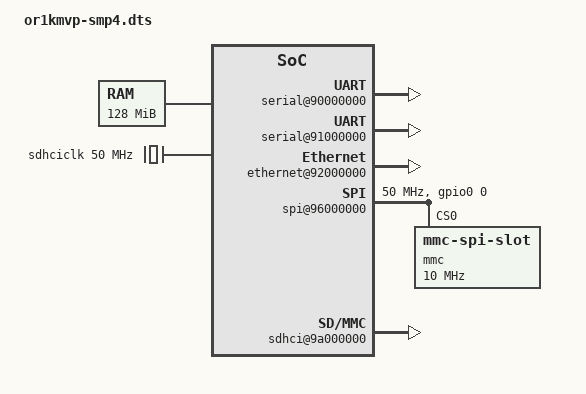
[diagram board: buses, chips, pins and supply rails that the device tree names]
/*
 * Copyright (c) 2021 Jan Henrik Weinstock <jan.weinstock@rwth-aachen.de>
 *
 * SPDX-License-Identifier: GPL-2.0
 *
 * Device tree for the OpenRISC Multicore Virtual Platform (or1kmvp)
 *
 */

/dts-v1/;

/ {
	compatible = "openrisc,or1kmvp";
	#address-cells = <1>;
	#size-cells = <1>;
	interrupt-parent = <&pic>;

	aliases {
		serial0 = "/serial@90000000";
		serial1 = "/serial@91000000";
		ethernet0 = "/ethernet@92000000";
	};

	chosen {
		bootargs = "debug earlycon console=ttyS0,115200n8 video=ocfb:800x600-32@60 root=/dev/mmcblk0p1 ro rootwait maxcpus=4";
		stdout-path = "serial0:115200n8";
	};

	cpus {
		#address-cells = <1>;
		#size-cells = <0>;

		cpu@0 {
			device_type = "cpu";
			compatible = "openrisc,or1kiss";
			clock-frequency = <100000000>; /* 100MHz */
			reg = <0>;
		};

		cpu@1 {
			device_type = "cpu";
			compatible = "openrisc,or1kiss";
			clock-frequency = <100000000>; /* 100MHz */
			reg = <1>;
		};

		cpu@2 {
			device_type = "cpu";
			compatible = "openrisc,or1kiss";
			clock-frequency = <100000000>; /* 100MHz */
			reg = <2>;
		};

		cpu@3 {
			device_type = "cpu";
			compatible = "openrisc,or1kiss";
			clock-frequency = <100000000>; /* 100MHz */
			reg = <3>;
		};
	};

	pic: interrupt-controller {
		compatible = "opencores,or1k-pic-level";
		#interrupt-cells = <1>;
		interrupt-controller;
	};

	memory@0 {
		device_type = "memory";
		reg = <0x00000000 0x08000000>; /* 128MB */
	};

	serial@90000000 {
		compatible = "ns16550a";
		clock-frequency = <3686400>; /* 3.6864MHz */
		reg = <0x90000000 0x2000>;
		interrupts = <2>;
	};

	serial@91000000 {
		compatible = "ns16550a";
		clock-frequency = <3686400>; /* 3.6864MHz */
		reg = <0x91000000 0x2000>;
		interrupts = <3>;
	};

	ethernet@92000000 {
		compatible = "opencores,ethoc";
		reg = <0x92000000 0x2000>;
		interrupts = <4>;
		big-endian;
	};

	framebuffer@93000000 {
		compatible = "opencores,ocfb";
		reg = <0x93000000 0x2000>;
		interrupts = <5>;
	};

	keyboard@94000000 {
		compatible = "opencores,kbd";
		reg = <0x94000000 0x2000>;
		interrupts = <6>;
	};

	rtc@95000000 {
		compatible = "maxim,ds1742";
		reg = <0x95000000 0x2000>;
	};

	spi@96000000 {
		#address-cells = <1>;
		#size-cells = <0>;

		compatible = "opencores,tiny-spi-rtlsvn2";
		reg = <0x96000000 0x2000>;
		/*interrupts = <7>;*/
		gpios = <&gpio0 0 0>;
		clock-frequency = <50000000>;
		baud-width = <32>;

		mmc@0 {
			compatible = "mmc-spi-slot";
			reg = <0>;
			voltage-ranges = <3300 3300>;
			spi-max-frequency = <10000000>;
		};
	};

	gpio0: gpio@97000000 {
		compatible = "brcm,bcm6345-gpio";
		reg = <0x97000000 4>;
		reg-names = "dat";
		gpio-controller;
		#gpio-cells = <2>;
		big-endian;
	};

	ompic@98000000 {
		compatible = "openrisc,ompic";
		reg = <0x98000000 0x2000>;
		interrupt-controller;
		interrupts = <1>;
	};

	rng@99000000 {
		compatible = "timeriomem_rng";
		reg = <0x99000000 0x4>;
		quality = <1000>;
		period = <0>;
	};

	sdhciclk: clk50mhz {
		compatible = "fixed-clock";
		#clock-cells = <0>;
		clock-frequency = <50000000>;
	};

	sdhci@9a000000 {
		compatible = "fujitsu,mb86s70-sdhci-3.0";
		reg = <0x9a000000 0x2000>;
		interrupts = <8>;
		clocks = <&sdhciclk>, <&sdhciclk>;
		clock-names = "iface", "core";
	};

};

